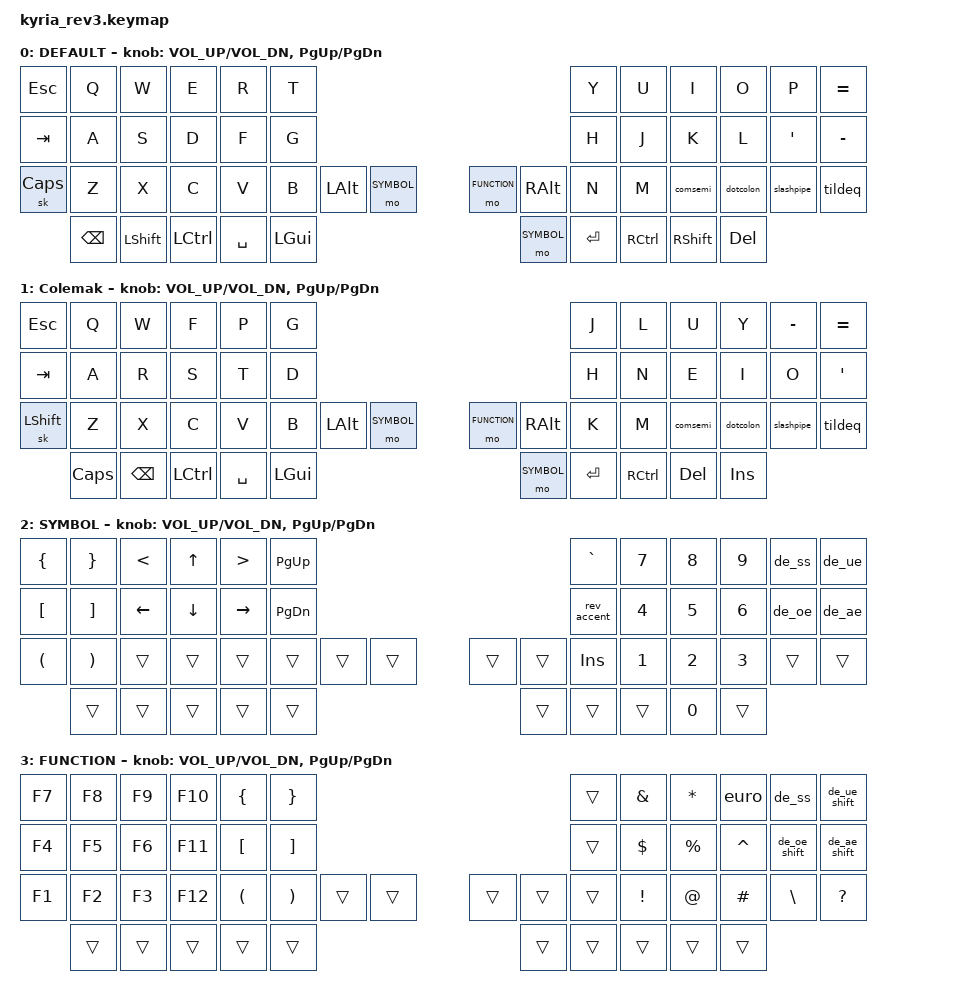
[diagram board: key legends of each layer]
/*
 * Copyright (c) 2023 The ZMK Contributors
 *
 * SPDX-License-Identifier: MIT
 */

#include <behaviors.dtsi>
#include <dt-bindings/zmk/bt.h>
#include <dt-bindings/zmk/keys.h>

#define U_TAP_MS 10
#define U_WAIT_MS 10

#define DEFAULT 0
#define COLEMAK 1
#define SYMBOL 2
#define FUNCTION 3

/* Uncomment this block if using RGB
&led_strip {
    chain-length = <6>;
    // chain-length = <31>; // Uncomment if using both per-key and underglow LEDs
    // chain-length = <25>; // Uncomment if using only per-key LEDs.
};
 */

/ {
    behaviors {
        de_ss: de_ss {
            compatible = "zmk,behavior-macro";
            label = "de ss";
            #binding-cells = <0>;
            wait-ms = <U_WAIT_MS>;
            tap-ms = <U_TAP_MS>;
            bindings = <&macro_tap &kp CAPS &kp S &kp S>;
        };
        euro: euro {
            compatible = "zmk,behavior-macro";
            label = "de euro";
            #binding-cells = <0>;
            wait-ms = <U_WAIT_MS>;
            tap-ms = <U_TAP_MS>;
            bindings = <&macro_tap &kp CAPS &kp E &kp EQUAL>;
        };
        rev_accent: rev_accent {
            compatible = "zmk,behavior-macro";
            label = "reverse accent";
            #binding-cells = <0>;
            wait-ms = <U_WAIT_MS>;
            tap-ms = <U_TAP_MS>;
            bindings = <&macro_tap &kp CAPS &kp APOS &kp APOS>;
        };
        de_ae: de_ae {
            compatible = "zmk,behavior-macro";
            label = "de ae";
            #binding-cells = <0>;
            wait-ms = <U_WAIT_MS>;
            tap-ms = <U_TAP_MS>;
            bindings = <&macro_tap &kp CAPS &kp DQT &kp A>;
        };
        de_ae_shift: de_ae_shift {
            compatible = "zmk,behavior-macro";
            label = "de ae shift";
            #binding-cells = <0>;
            wait-ms = <U_WAIT_MS>;
            tap-ms = <U_TAP_MS>;
            bindings
                = <&macro_press     &kp LSHIFT>
                  , <&macro_tap     &kp CAPS &kp DQT &kp A>
                  , <&macro_release &kp LSHIFT>;
        };
        de_oe: de_oe {
            compatible = "zmk,behavior-macro";
            label = "de oe";
            #binding-cells = <0>;
            wait-ms = <U_WAIT_MS>;
            tap-ms = <U_TAP_MS>;
            bindings = <&macro_tap &kp CAPS &kp DQT &kp O>;
        };
        de_oe_shift: de_oe_shift {
            compatible = "zmk,behavior-macro";
            label = "de oe shift";
            #binding-cells = <0>;
            wait-ms = <U_WAIT_MS>;
            tap-ms = <U_TAP_MS>;
            bindings
                = <&macro_press     &kp LSHIFT>
                  , <&macro_tap     &kp CAPS &kp DQT &kp O>
                  , <&macro_release &kp LSHIFT>;
        };
        de_ue: de_ue {
            compatible = "zmk,behavior-macro";
            label = "de ue";
            #binding-cells = <0>;
            wait-ms = <U_WAIT_MS>;
            tap-ms = <U_TAP_MS>;
            bindings = <&macro_tap &kp CAPS &kp DQT &kp U>;
        };
        de_ue_shift: de_ue_shift {
            compatible = "zmk,behavior-macro";
            label = "de ue shift";
            #binding-cells = <0>;
            wait-ms = <U_WAIT_MS>;
            tap-ms = <U_TAP_MS>;
            bindings
                = <&macro_press     &kp LSHIFT>
                  , <&macro_tap     &kp CAPS &kp DQT &kp U>
                  , <&macro_release &kp LSHIFT>;
        };
        comsemi: comma_semi {
            compatible = "zmk,behavior-mod-morph";
            #binding-cells = <0>;
            bindings = <&kp COMMA>, <&kp SEMI>;
            mods = <(MOD_LSFT|MOD_RSFT)>;
        };
        dotcolon: dot_colon {
            compatible = "zmk,behavior-mod-morph";
            #binding-cells = <0>;
            bindings = <&kp DOT>, <&kp COLON>;
            mods = <(MOD_LSFT|MOD_RSFT)>;
        };
        slashpipe: slash_pipe {
            compatible = "zmk,behavior-mod-morph";
            #binding-cells = <0>;
            bindings = <&kp FSLH>, <&kp PIPE>;
            mods = <(MOD_LSFT|MOD_RSFT)>;
        };
        tildeq: tilde_q {
            compatible = "zmk,behavior-mod-morph";
            #binding-cells = <0>;
            bindings = <&kp TILDE>, <&kp QMARK>;
            mods = <(MOD_LSFT|MOD_RSFT)>;
        };
    };

    keymap {
        compatible = "zmk,keymap";
        // querty
        default_layer {
            label = "DEFAULT";
            // ----------------------------------------------------------------------------------------------------------------------------------
            // |  ESC  |  Q  |  W  |  E    |  R   |  T   |                                          |  Y    |  U    |  I    |  O   |   P   |   =+  |
            // |  TAB  |  A  |  S  |  D    |  F   |  G   |                                          |  H    |  J    |  K    |  L   |   '\" |   -_  |
            // | SHIFT |  Z  |  X  |  C    |  V   |  B   |   ALT   | LAYER 1 |  | LAYER 2 | R ALT   |  N    |  M    |  ,;   |  .:  |   /|  |   ~ \ |
            //                     |Compose| DEL  | CTRL |  SPACE  |   GUI   |  | LAYER 1 |  RET    | RCTRL | Entf  | Einfg |
            bindings = <
            &kp ESC   &kp Q &kp W &kp E &kp R &kp T                                                  &kp Y &kp U  &kp I     &kp O     &kp P  &kp EQUAL
            &kp TAB   &kp A &kp S &kp D &kp F &kp G                                                  &kp H &kp J  &kp K     &kp L     &kp SQT      &kp MINUS
            &sk CAPS &kp Z &kp X &kp C &kp V &kp B &kp LALT &mo SYMBOL           &mo FUNCTION  &kp RALT &kp N &kp M  &comsemi  &dotcolon &slashpipe &tildeq
                      &kp BSPC &kp LSHFT &kp LCTRL &kp SPACE &kp LGUI              &mo SYMBOL   &kp RET   &kp RCTRL &kp RSHFT &kp DEL
            >;

            sensor-bindings = <&inc_dec_kp C_VOL_UP C_VOL_DN &inc_dec_kp PG_UP PG_DN>;
        };
        
        // colemak
        colemak_layer {
            label = "Colemak";
            // ----------------------------------------------------------------------------------------------------------------------------------
            // |  ESC  |  Q  |  W  |  F    |  P   |  G   |                                          |  J    |  L    |  U    |  Y   |   -_  |   =+  |
            // |  TAB  |  A  |  R  |  S    |  T   |  D   |                                          |  H    |  N    |  E    |  I   |   O   |   '\" |
            // | SHIFT |  Z  |  X  |  C    |  V   |  B   |   ALT   | LAYER 1 |  | LAYER 2 | R ALT   |  K    |  M    |  ,;   |  .:  |   /|  |   ~ \ |
            //                     |Compose| DEL  | CTRL |  SPACE  |   GUI   |  | LAYER 1 |  RET    | RCTRL | Entf  | Einfg |
            bindings = <
            &kp ESC   &kp Q &kp W &kp F &kp P &kp G                                                  &kp J &kp L  &kp U     &kp Y     &kp MINUS  &kp EQUAL
            &kp TAB   &kp A &kp R &kp S &kp T &kp D                                                  &kp H &kp N  &kp E     &kp I     &kp O      &kp SQT
            &sk LSHFT &kp Z &kp X &kp C &kp V &kp B &kp LALT &mo SYMBOL           &mo FUNCTION  &kp RALT &kp K &kp M  &comsemi  &dotcolon &slashpipe &tildeq
                      &kp CAPS &kp BSPC &kp LCTRL &kp SPACE &kp LGUI              &mo SYMBOL   &kp RET   &kp RCTRL &kp DEL &kp INS
            >;

            sensor-bindings = <&inc_dec_kp C_VOL_UP C_VOL_DN &inc_dec_kp PG_UP PG_DN>;
        };

        symbol_layer {        
            label = "SYMBOL";
            // ---------------------------------------------------------------------------------------------------------------------------------
            // |   {  |  }   |  <  | up  |   >  | BUP  |                                            |  `   |   7  |   8   |   9   |  ss  |   ue  |
            // |   [  |  ]   | lft | dwn | Rght | BDwn |                                            |  ´   |   4  |   5   |   6   |  oe  |   ae  |
            // |   (  |  )   |     |     |      |      |           |         |  |         |         |  INS |   1  |   2   |   3   |      |       |
            //                     |     |      |      |           |         |  |         |         |      |   0  |       |
            bindings = <
            &kp LBRC &kp RBRC &kp LT   &kp UP   &kp GT    &kp PG_UP                          &kp GRAVE   &kp N7 &kp N8 &kp N9 &de_ss &de_ue
            &kp LBKT &kp RBKT &kp LEFT &kp DOWN &kp RIGHT &kp PG_DN                          &rev_accent &kp N4 &kp N5 &kp N6 &de_oe &de_ae
            &kp LPAR &kp RPAR &trans &trans &trans &trans &trans &trans        &trans &trans &kp INS      &kp N1 &kp N2 &kp N3 &trans &trans
                                     &trans &trans &trans &trans &trans        &trans &trans &trans      &kp N0 &trans
            >;

            sensor-bindings = <&inc_dec_kp C_VOL_UP C_VOL_DN &inc_dec_kp PG_UP PG_DN>;
        };

        function_layer {
            label = "FUNCTION";
            // ----------------------------------------------------------------------------------------------------------------------------------
            // |  F7 |  F8  |  F9  |  F10 |   {   | }    |                                          |      |  &   |   *   |  €    |  ss  |   ue  |
            // |  F4 |  F5  |  F6  |  F11 |   [   | ]    |                                          |      |  $   |   %   |  ^    |  oe  |   ae  |
            // |  F1 |  F2  |  F3  |  F12 |   (   | )    |         |         |  |         |         |      |  !   |   @   |  #    |  \   |   ?   |
            //                     |      |       |      |         |         |  |         |         |      |      |       |
            bindings = <
              &kp F7 &kp F8 &kp F9 &kp F10 &kp LBRC &kp RBRC                                          &trans &kp AMPS &kp STAR  &euro     &de_ss       &de_ue_shift
              &kp F4 &kp F5 &kp F6 &kp F11 &kp LBKT &kp RBKT                                          &trans &kp DLLR &kp PRCNT &kp CARET &de_oe_shift &de_ae_shift
              &kp F1 &kp F2 &kp F3 &kp F12 &kp LPAR &kp RPAR &trans &trans            &trans   &trans   &trans &kp EXCL &kp AT    &kp HASH  &kp BSLH     &kp QMARK
                                     &trans &trans &trans &trans &trans            &trans   &trans   &trans &trans &trans
            >;

            sensor-bindings = <&inc_dec_kp C_VOL_UP C_VOL_DN &inc_dec_kp PG_UP PG_DN>;
        };

    };
};
